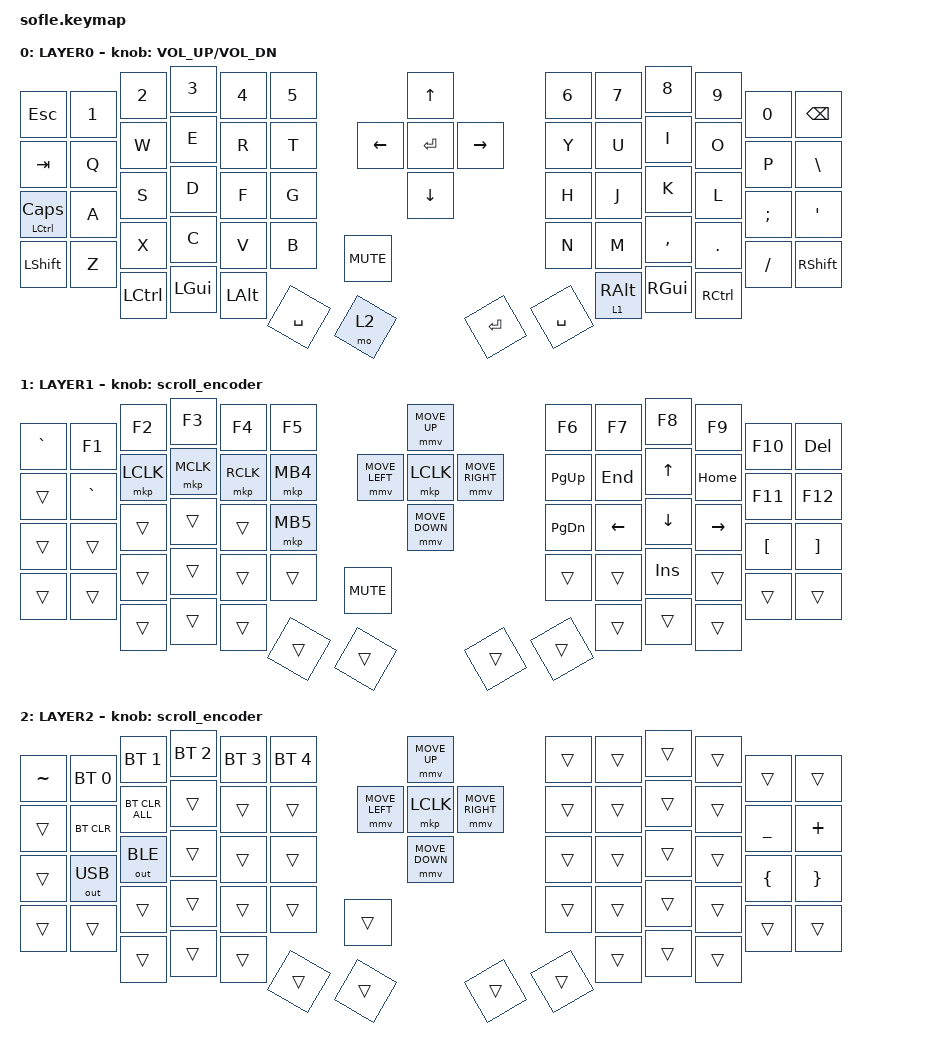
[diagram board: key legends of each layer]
#define ZMK_MOUSE_DEFAULT_MOVE_VAL 1200  // 600
#define ZMK_MOUSE_DEFAULT_SCRL_VAL 200   // 10

#include <behaviors.dtsi>
#include <dt-bindings/zmk/bt.h>
#include <dt-bindings/zmk/keys.h>
#include <dt-bindings/zmk/mouse.h>
#include <dt-bindings/zmk/outputs.h>
#include <dt-bindings/zmk/rgb.h>

&mmv {
    acceleration-exponent = <1>;      // 1
    time-to-max-speed-ms = <900>;     // 300
    delay-ms = <0>;                   // 0
};

&msc {
    acceleration-exponent = <1>;      // 0
    time-to-max-speed-ms = <40>;      // 300
    delay-ms = <0>;                   // 0
};
        
/ {
    behaviors {
        scroll_encoder: scroll_encoder {
            compatible = "zmk,behavior-sensor-rotate";
            #sensor-binding-cells = <0>;
            bindings = <&msc SCRL_DOWN>, <&msc SCRL_UP>;
            tap-ms = <30>;
        };
    };
    
    keymap {
        compatible = "zmk,keymap";

        layer0 {
            bindings = <
&kp ESC         &kp N1     &kp N2    &kp N3    &kp N4     &kp N5   &kp UP_ARROW     &kp N6     &kp N7     &kp N8      &kp N9     &kp N0      &kp BACKSPACE
&kp TAB         &kp Q      &kp W     &kp E     &kp R      &kp T    &kp DOWN_ARROW   &kp Y      &kp U      &kp I       &kp O      &kp P       &kp BSLH
&mt LCTRL CAPS  &kp A      &kp S     &kp D     &kp F      &kp G    &kp LEFT_ARROW   &kp H      &kp J      &kp K       &kp L      &kp SEMI    &kp APOS
&kp LSHFT       &kp Z      &kp X     &kp C     &kp V      &kp B    &kp RIGHT_ARROW  &kp N      &kp M      &kp COMMA   &kp DOT    &kp FSLH    &kp RSHFT
&kp C_MUTE      &kp LCTRL  &kp LGUI  &kp LALT  &kp SPACE  &mo 2    &kp ENTER        &kp ENTER  &kp SPACE  &lt 1 RALT  &kp RGUI   &kp RCTRL
            >;

            sensor-bindings = <&inc_dec_kp C_VOLUME_UP C_VOL_DN>;
            display-name = "LAYER0";
        };

        layer_1 {
            bindings = <
&kp GRAVE   &kp F1     &kp F2     &kp F3     &kp F4     &kp F5    &mmv MOVE_UP     &kp F6     &kp F7    &kp F8      &kp F9     &kp F10   &kp DELETE
&trans      &kp GRAVE  &mkp LCLK  &mkp MCLK  &mkp RCLK  &mkp MB4  &mmv MOVE_DOWN   &kp PG_UP  &kp END   &kp UP      &kp HOME   &kp F11   &kp F12
&trans      &trans     &trans     &trans     &trans     &mkp MB5  &mmv MOVE_LEFT   &kp PG_DN  &kp LEFT  &kp DOWN    &kp RIGHT  &kp LBKT  &kp RBKT
&trans      &trans     &trans     &trans     &trans     &trans    &mmv MOVE_RIGHT  &trans     &trans    &kp INSERT  &trans     &trans    &trans
&kp C_MUTE  &trans     &trans     &trans     &trans     &trans    &mkp LCLK        &trans     &trans    &trans      &trans     &trans
            >;

            sensor-bindings = <&scroll_encoder>;
            display-name = "LAYER1";
        };

        layer_2 {
            bindings = <
&kp TILDE  &bt BT_SEL 0  &bt BT_SEL 1    &bt BT_SEL 2  &bt BT_SEL 3  &bt BT_SEL 4  &mmv MOVE_UP     &trans  &trans  &trans  &trans  &trans     &trans
&trans     &bt BT_CLR    &bt BT_CLR_ALL  &trans        &trans        &trans        &mmv MOVE_DOWN   &trans  &trans  &trans  &trans  &kp UNDER  &kp PLUS
&trans     &out OUT_USB  &out OUT_BLE    &trans        &trans        &trans        &mmv MOVE_LEFT   &trans  &trans  &trans  &trans  &kp LBRC   &kp RBRC
&trans     &trans        &trans          &trans        &trans        &trans        &mmv MOVE_RIGHT  &trans  &trans  &trans  &trans  &trans     &trans
&trans     &trans        &trans          &trans        &trans        &trans        &mkp LCLK        &trans  &trans  &trans  &trans  &trans
            >;

            sensor-bindings = <&scroll_encoder>;
            display-name = "LAYER2";
        };
        
        extra1 {
            status = "reserved";
        };
        
        extra2 {
            status = "reserved";
        };
        
        extra3 {
            status = "reserved";
        };
    };
};
